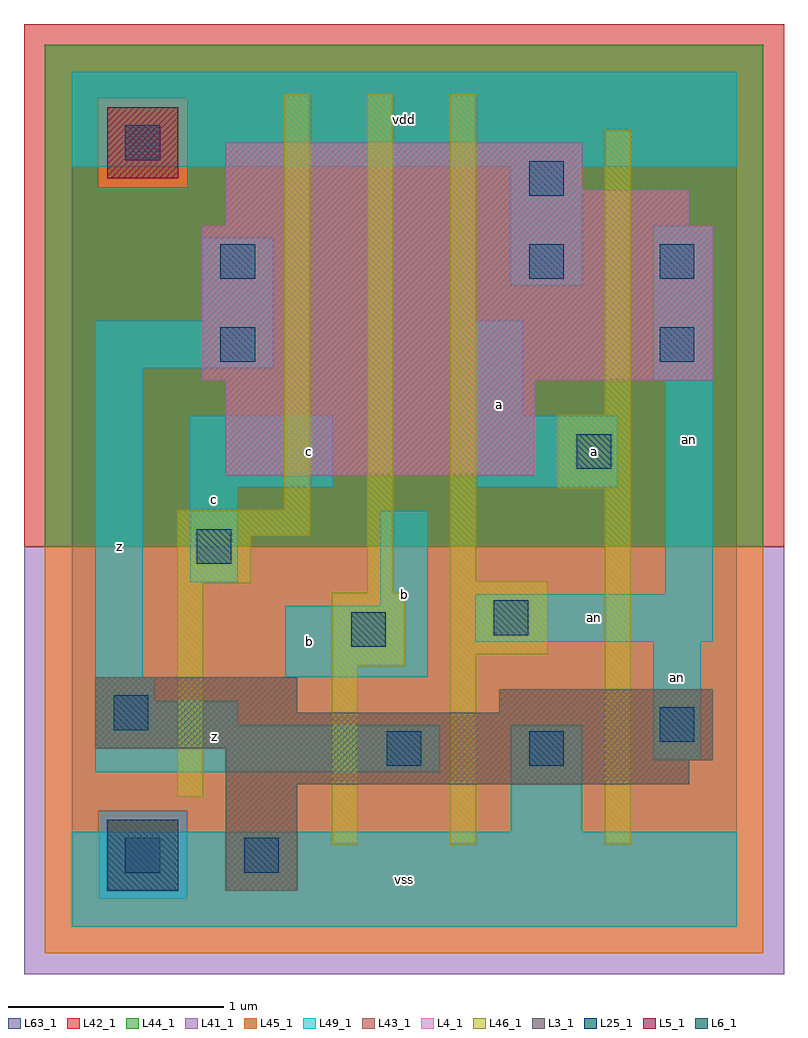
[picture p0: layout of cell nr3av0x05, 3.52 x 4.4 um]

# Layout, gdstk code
import gdstk
lib = gdstk.Library(unit=1e-6, precision=1e-09)
def R(c, l, rs):  # rectangles x0, y0, x1, y1
    for r in rs: c.add(gdstk.rectangle(r[:2], r[2:], *l))
L3_1 = (3, 1)
L4_1 = (4, 1)
L5_1 = (5, 1)
L6_1 = (6, 1)
L25_1 = (25, 1)
L41_1 = (41, 1)
L42_1 = (42, 1)
L43_1 = (43, 1)
L44_1 = (44, 1)
L45_1 = (45, 1)
L46_1 = (46, 1)
L49_1 = (49, 1)
L63_1 = (63, 1)

nr3av0x05 = lib.new_cell('nr3av0x05')
R(nr3av0x05, L3_1, [(0.715,0.165,1.045,0.66), (0.715,0.66,2.86,0.77), (0.715,0.77,2.97,0.825), (0.11,0.825,2.97,0.99), (0.11,0.99,1.045,1.155), (1.98,0.99,2.97,1.1)])
R(nr3av0x05, L4_1, [(0.715,2.09,2.145,2.53), (0.605,2.53,2.97,3.245), (0.715,3.245,2.86,3.41), (0.715,3.41,2.365,3.63)])
R(nr3av0x05, L5_1, [(0.165,3.465,0.495,3.795)])
R(nr3av0x05, L6_1, [(0.165,0.165,0.495,0.495)])
R(nr3av0x05, L25_1, [(0.25,0.25,0.41,0.41), (0.8,0.25,0.96,0.41), (1.46,0.745,1.62,0.905), (2.12,0.745,2.28,0.905), (2.725,0.855,2.885,1.015), (0.195,0.91,0.355,1.07), (1.295,1.295,1.455,1.455), (1.955,1.35,2.115,1.51), (0.58,1.68,0.74,1.84), (2.34,2.12,2.5,2.28), (0.69,2.615,0.85,2.775), (2.725,2.615,2.885,2.775), (0.69,3,0.85,3.16), (2.12,3,2.28,3.16), (2.725,3,2.885,3.16), (2.12,3.385,2.28,3.545), (0.25,3.55,0.41,3.71)])
R(nr3av0x05, L41_1, [(-0.22,-0.22,3.3,1.76)])
R(nr3av0x05, L42_1, [(-0.22,1.76,3.3,4.18)])
R(nr3av0x05, L43_1, [(0.165,0.165,0.495,0.495), (0.715,0.165,1.045,0.66), (0.715,0.66,2.86,0.77), (0.715,0.77,2.97,0.825), (0.11,0.825,2.97,0.99), (0.11,0.99,1.045,1.155), (1.98,0.99,2.97,1.1), (0.715,2.09,2.145,2.53), (0.605,2.53,2.97,3.245), (0.715,3.245,2.86,3.41), (0.715,3.41,2.365,3.63), (0.165,3.465,0.495,3.795)])
R(nr3av0x05, L44_1, [(0.125,0.125,0.535,0.535), (-0.125,1.76,3.205,3.425), (-0.125,3.425,0.125,3.835), (0.535,3.425,3.205,3.835), (-0.125,3.835,3.205,4.085)])
R(nr3av0x05, L45_1, [(-0.125,-0.125,3.205,0.125), (-0.125,0.125,0.125,0.535), (0.535,0.125,3.205,0.535), (-0.125,0.535,3.205,1.76), (0.125,3.425,0.535,3.835)])
R(nr3av0x05, L46_1, [(1.205,0.38,1.325,1.205), (1.755,0.38,1.875,1.26), (2.47,0.38,2.59,2.03), (0.49,0.6,0.61,1.59), (1.205,1.205,1.545,1.545), (1.755,1.26,2.205,1.6), (1.37,1.545,1.49,3.855), (0.49,1.59,0.83,1.81), (1.755,1.6,1.875,3.855), (0.49,1.81,1.105,1.93), (0.985,1.93,1.105,3.855), (2.25,2.03,2.59,2.37), (2.47,2.37,2.59,3.69)])
R(nr3av0x05, L49_1, [(0,0,3.08,0.44), (2.035,0.44,2.365,0.935), (0.11,0.715,1.705,0.935), (2.695,0.77,2.915,1.32), (0.11,0.935,0.77,1.045), (0.11,1.045,0.385,1.155), (0.11,1.155,0.33,2.585), (0.99,1.155,1.65,1.485), (1.87,1.32,2.97,1.54), (1.43,1.485,1.65,1.925), (2.75,1.54,2.97,2.53), (0.55,1.595,0.77,2.035), (0.55,2.035,1.21,2.365), (1.87,2.035,2.53,2.365), (1.87,2.365,2.09,2.805), (2.695,2.53,2.97,3.245), (0.11,2.585,0.935,2.805), (0.605,2.805,0.935,3.19), (2.035,2.97,2.365,3.52), (0,3.52,3.08,3.96)])
R(nr3av0x05, L63_1, [(0,0,3.08,3.96)])
nr3av0x05.add(gdstk.Label('z', (0.22,1.76), layer=49, texttype=1))
nr3av0x05.add(gdstk.Label('z', (0.66,0.88), layer=49, texttype=1))
nr3av0x05.add(gdstk.Label('b', (1.1,1.32), layer=49, texttype=1))
nr3av0x05.add(gdstk.Label('c', (1.1,2.2), layer=49, texttype=1))
nr3av0x05.add(gdstk.Label('c', (0.66,1.98), layer=49, texttype=1))
nr3av0x05.add(gdstk.Label('vss', (1.54,0.22), layer=49, texttype=1))
nr3av0x05.add(gdstk.Label('b', (1.54,1.54), layer=49, texttype=1))
nr3av0x05.add(gdstk.Label('a', (1.98,2.42), layer=49, texttype=1))
nr3av0x05.add(gdstk.Label('vdd', (1.54,3.74), layer=49, texttype=1))
nr3av0x05.add(gdstk.Label('an', (2.805,1.155), layer=49, texttype=1))
nr3av0x05.add(gdstk.Label('an', (2.42,1.43), layer=49, texttype=1))
nr3av0x05.add(gdstk.Label('a', (2.42,2.2), layer=49, texttype=1))
nr3av0x05.add(gdstk.Label('an', (2.86,2.255), layer=49, texttype=1))

lib.write_gds('nr3av0x05.gds')
